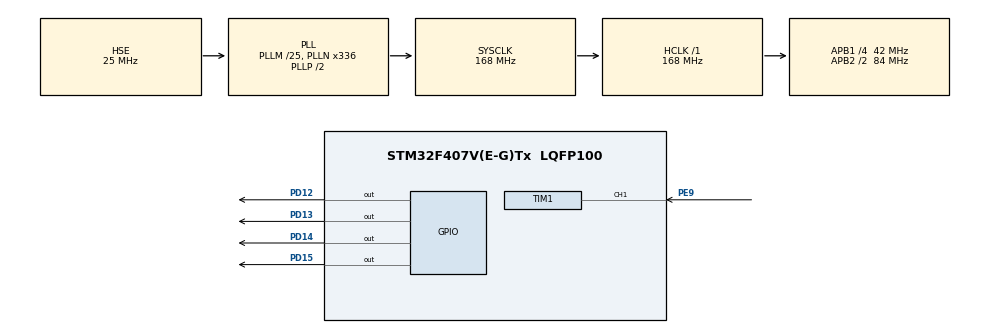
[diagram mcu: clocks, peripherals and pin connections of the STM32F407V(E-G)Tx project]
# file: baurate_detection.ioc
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Mcu.Family=STM32F4
Mcu.Name=STM32F407V(E-G)Tx
Mcu.Package=LQFP100
NVIC.PriorityGroup=NVIC_PRIORITYGROUP_4
NVIC.TIM1_CC_IRQn=true\:0\:0\:false\:true\:true\:1\:true\:true\:true
PD12.Signal=GPIO_Output
PD13.Signal=GPIO_Output
PD14.Signal=GPIO_Output
PD15.Signal=GPIO_Output
PE9.Signal=S_TIM1_CH1
PH0-OSC_IN.Mode=HSE-External-Oscillator
PH0-OSC_IN.Signal=RCC_OSC_IN
PH1-OSC_OUT.Mode=HSE-External-Oscillator
PH1-OSC_OUT.Signal=RCC_OSC_OUT
ProjectManager.HeapSize=0x200
ProjectManager.StackSize=0x400
ProjectManager.TargetToolchain=Makefile
RCC.48MHZClocksFreq_Value=84000000
RCC.AHBFreq_Value=168000000
RCC.APB1CLKDivider=RCC_HCLK_DIV4
RCC.APB1Freq_Value=42000000
RCC.APB1TimFreq_Value=84000000
RCC.APB2CLKDivider=RCC_HCLK_DIV2
RCC.APB2Freq_Value=84000000
RCC.APB2TimFreq_Value=168000000
RCC.CortexFreq_Value=168000000
RCC.HCLKFreq_Value=168000000
RCC.HSE_VALUE=25000000
RCC.HSI_VALUE=16000000
RCC.LSE_VALUE=32768
RCC.PLLM=25
RCC.PLLN=336
RCC.PLLSourceVirtual=RCC_PLLSOURCE_HSE
RCC.SYSCLKFreq_VALUE=168000000
RCC.SYSCLKSource=RCC_SYSCLKSOURCE_PLLCLK
RCC.VCOOutputFreq_Value=336000000
SH.S_TIM1_CH1.0=TIM1_CH1,Input_Capture1_from_TI1
TIM1.Channel-Input_Capture1_from_TI1=TIM_CHANNEL_1
VP_TIM1_VS_ClockSourceINT.Mode=Internal
board=custom

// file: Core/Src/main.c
/* USER CODE BEGIN Header */
/**
 ******************************************************************************
 * @file           : main.c
 * @brief          : Main program body
 ******************************************************************************
 * @attention
 *
 * Copyright (c) 2025 STMicroelectronics.
 * All rights reserved.
 *
 * This software is licensed under terms that can be found in the LICENSE file
 * in the root directory of this software component.
 * If no LICENSE file comes with this software, it is provided AS-IS.
 *
 ******************************************************************************
 */
/* USER CODE END Header */
#include "main.h"
#include "gpio.h"
#include "tim.h"

void SystemClock_Config(void);
static void MX_NVIC_Init(void);

/* USER CODE BEGIN 0 */
volatile uint32_t last_capt = 0;
volatile float baudrate = 0;
volatile uint8_t measurement_ready = 0;
// use number of bits , a bit counter
void HAL_TIM_IC_CaptureCallback(TIM_HandleTypeDef* htim)
{
    HAL_GPIO_TogglePin(GPIOD, GPIO_PIN_12);

    uint32_t curr_capt = HAL_TIM_ReadCapturedValue(&htim1, TIM_CHANNEL_1);

    if (last_capt != 0)
    {
        // Correct overflow handling
        uint32_t bit_ela_time = (curr_capt >= last_capt)
                                    ? (curr_capt - last_capt)
                                    : (0xFFFF - last_capt + curr_capt + 1);

        // Calculate time in microseconds (assuming 1MHz timer clock)
        float bit_time_us = bit_ela_time; // Direct since 1 tick = 1µs @ 1MHz

        // Calculate baud rate
        baudrate = 1.0 / (bit_time_us * 1e-6);
    }

    last_capt = curr_capt;
}
/* USER CODE END 0 */

int main(void)
{

    /* MCU
     * Configuration--------------------------------------------------------*/

    /* Reset of all peripherals, Initializes the Flash interface and the
     * Systick. */
    HAL_Init();

    /* Configure the system clock */
    SystemClock_Config();

    /* Initialize all configured peripherals */
    MX_GPIO_Init();
    MX_TIM1_Init();

    /* Initialize interrupts */
    MX_NVIC_Init();

    /* Infinite loop */
    /* USER CODE BEGIN WHILE */
    HAL_TIM_IC_Start_IT(&htim1, TIM_CHANNEL_1);
    while (1)
    {
        /* USER CODE END WHILE */

    }
}

void SystemClock_Config(void)
{
    RCC_OscInitTypeDef RCC_OscInitStruct = {0};
    RCC_ClkInitTypeDef RCC_ClkInitStruct = {0};

    /** Configure the main internal regulator output voltage
     */
    __HAL_RCC_PWR_CLK_ENABLE();
    __HAL_PWR_VOLTAGESCALING_CONFIG(PWR_REGULATOR_VOLTAGE_SCALE1);

    /** Initializes the RCC Oscillators according to the specified
     * parameters in the RCC_OscInitTypeDef structure.
     */
    RCC_OscInitStruct.OscillatorType = RCC_OSCILLATORTYPE_HSE;
    RCC_OscInitStruct.HSEState = RCC_HSE_ON;
    RCC_OscInitStruct.PLL.PLLState = RCC_PLL_ON;
    RCC_OscInitStruct.PLL.PLLSource = RCC_PLLSOURCE_HSE;
    RCC_OscInitStruct.PLL.PLLM = 25;
    RCC_OscInitStruct.PLL.PLLN = 336;
    RCC_OscInitStruct.PLL.PLLP = RCC_PLLP_DIV2;
    RCC_OscInitStruct.PLL.PLLQ = 4;
    if (HAL_RCC_OscConfig(&RCC_OscInitStruct) != HAL_OK)
    {
        Error_Handler();
    }

    /** Initializes the CPU, AHB and APB buses clocks
     */
    RCC_ClkInitStruct.ClockType = RCC_CLOCKTYPE_HCLK | RCC_CLOCKTYPE_SYSCLK |
                                  RCC_CLOCKTYPE_PCLK1 | RCC_CLOCKTYPE_PCLK2;
    RCC_ClkInitStruct.SYSCLKSource = RCC_SYSCLKSOURCE_PLLCLK;
    RCC_ClkInitStruct.AHBCLKDivider = RCC_SYSCLK_DIV1;
    RCC_ClkInitStruct.APB1CLKDivider = RCC_HCLK_DIV4;
    RCC_ClkInitStruct.APB2CLKDivider = RCC_HCLK_DIV2;

    if (HAL_RCC_ClockConfig(&RCC_ClkInitStruct, FLASH_LATENCY_5) != HAL_OK)
    {
        Error_Handler();
    }
}

/**
 * @brief NVIC Configuration.
 * @retval None
 */
static void MX_NVIC_Init(void)
{
    /* TIM1_CC_IRQn interrupt configuration */
    HAL_NVIC_SetPriority(TIM1_CC_IRQn, 0, 0);
    HAL_NVIC_EnableIRQ(TIM1_CC_IRQn);
}

void Error_Handler(void)
{
    /* USER CODE BEGIN Error_Handler_Debug */
    /* User can add his own implementation to report the HAL error return
     * state
     */
    __disable_irq();
    while (1)
    {
    }
    /* USER CODE END Error_Handler_Debug */
}

#ifdef USE_FULL_ASSERT
/**
 * @brief  Reports the name of the source file and the source line number
 *         where the assert_param error has occurred.
 * @param  file: pointer to the source file name
 * @param  line: assert_param error line source number
 * @retval None
 */
void assert_failed(uint8_t* file, uint32_t line)
{
    /* USER CODE BEGIN 6 */
    /* User can add his own implementation to report the file name and line
       number, ex: printf("Wrong parameters value: file %s on line %d\r\n",
       file, line) */
    /* USER CODE END 6 */
}
#endif /* USE_FULL_ASSERT */
